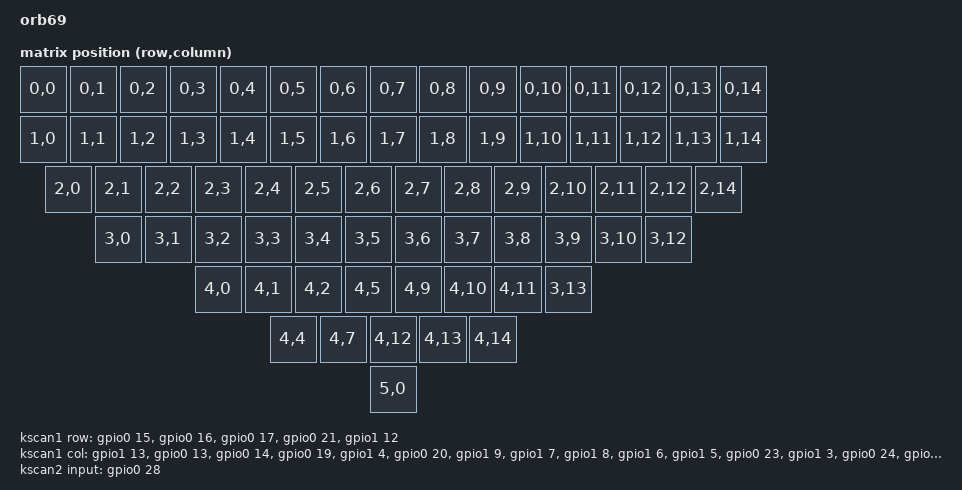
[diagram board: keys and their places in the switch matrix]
/dts-v1/;
#include <nordic/nrf52840_qiaa.dtsi>

#include <dt-bindings/zmk/matrix_transform.h>

//#include "orb69-pinctrl.dtsi"

/ {
    model = "orb69";
    compatible = "orb,69";

    aliases {
        led-pwr-r = &led_0;
        led-pwr-g = &led_1;
        led-bt-0  = &led_2;
        led-bt-1  = &led_3;
        led-bt-2  = &led_4;
    };

    chosen {
        zephyr,code-partition = &code_partition;
        zephyr,sram = &sram0;
        zephyr,flash = &flash0;
        zephyr,console = &cdc_acm_uart;
        zmk,battery = &vbatt;
        zmk,kscan = &kscan0;
        zmk,matrix_transform = &default_transform;
    };

    default_transform: keymap_transform_0 {
        compatible = "zmk,matrix-transform";
        rows = <5>;
        columns = <15>;

        map = <
            RC(0,0) RC(0,1) RC(0,2) RC(0,3) RC(0,4) RC(0,5) RC(0,6) RC(0,7) RC(0,8) RC(0,9) RC(0,10) RC(0,11) RC(0,12)   RC(0,13) RC(0,14)
            RC(1,0)   RC(1,1) RC(1,2) RC(1,3) RC(1,4) RC(1,5) RC(1,6) RC(1,7) RC(1,8) RC(1,9) RC(1,10) RC(1,11) RC(1,12) RC(1,13) RC(1,14)
            RC(2,0)     RC(2,1) RC(2,2) RC(2,3) RC(2,4) RC(2,5) RC(2,6) RC(2,7) RC(2,8) RC(2,9) RC(2,10) RC(2,11)        RC(2,12) RC(2,14)
            RC(3,0)       RC(3,1) RC(3,2) RC(3,3) RC(3,4) RC(3,5) RC(3,6) RC(3,7) RC(3,8) RC(3,9)    RC(3,10)            RC(3,12)
            RC(4,0)   RC(4,1)   RC(4,2)                      RC(4,5)                     RC(4,9)   RC(4,10)   RC(4,11)   RC(3,13)
                                            RC(4,4)                        RC(4,7)                              RC(4,12) RC(4,13) RC(4,14)

            RC(5,0)                                 
        >;
    };

    kscan0: kscan_composite {
        compatible = "zmk,kscan-composite";
        label = "KSCAN0";
        rows = <6>;
        columns = <15>;

        matrix {
            kscan = <&kscan1>;
        };

        direct {
            kscan = <&kscan2>;
            row-offset = <5>;
        };
    };

    kscan1: kscan_matrix {
        compatible = "zmk,kscan-gpio-matrix";

        diode-direction = "row2col";
        row-gpios
            = <&gpio0 15 GPIO_ACTIVE_HIGH>
            , <&gpio0 16 GPIO_ACTIVE_HIGH>
            , <&gpio0 17 GPIO_ACTIVE_HIGH>
            , <&gpio0 21 GPIO_ACTIVE_HIGH>
            , <&gpio1 12 GPIO_ACTIVE_HIGH>
            ;
        col-gpios
            = <&gpio1 13 (GPIO_ACTIVE_HIGH | GPIO_PULL_DOWN)>
            , <&gpio0 13 (GPIO_ACTIVE_HIGH | GPIO_PULL_DOWN)>
            , <&gpio0 14 (GPIO_ACTIVE_HIGH | GPIO_PULL_DOWN)>
            , <&gpio0 19 (GPIO_ACTIVE_HIGH | GPIO_PULL_DOWN)>
            , <&gpio1 4  (GPIO_ACTIVE_HIGH | GPIO_PULL_DOWN)>
            , <&gpio0 20 (GPIO_ACTIVE_HIGH | GPIO_PULL_DOWN)>
            , <&gpio1 9  (GPIO_ACTIVE_HIGH | GPIO_PULL_DOWN)>
            , <&gpio1 7  (GPIO_ACTIVE_HIGH | GPIO_PULL_DOWN)>
            , <&gpio1 8  (GPIO_ACTIVE_HIGH | GPIO_PULL_DOWN)>
            , <&gpio1 6  (GPIO_ACTIVE_HIGH | GPIO_PULL_DOWN)>
            , <&gpio1 5  (GPIO_ACTIVE_HIGH | GPIO_PULL_DOWN)>
            , <&gpio0 23 (GPIO_ACTIVE_HIGH | GPIO_PULL_DOWN)>
            , <&gpio1 3  (GPIO_ACTIVE_HIGH | GPIO_PULL_DOWN)>
            , <&gpio0 24 (GPIO_ACTIVE_HIGH | GPIO_PULL_DOWN)>
            , <&gpio0 22 (GPIO_ACTIVE_HIGH | GPIO_PULL_DOWN)>
            ;
    };
    
    kscan2: kscan_direct {
        compatible = "zmk,kscan-gpio-direct";

        input-gpios
            = <&gpio0 28 (GPIO_ACTIVE_LOW | GPIO_PULL_UP)>
            ;
    };

    vbatt: vbatt {
        compatible = "zmk,battery-voltage-divider";
        label = "BATTERY";
        io-channels = <&adc 7>;
        output-ohms = <2000000>;
        full-ohms = <(2000000 + 806000)>;
    };

    leds {
        compatible = "gpio-leds";
        led_0: led_0 {
            gpios = <&gpio0 29 GPIO_ACTIVE_LOW>;
            label = "Power led red";
        };
        led_1: led_1 {
            gpios = <&gpio0 30 GPIO_ACTIVE_LOW>;
            label = "Power led green";
        };
        led_2: led_2 {
            gpios = <&gpio0 27 GPIO_ACTIVE_LOW>;
            label = "Bluetooth led profile 0";
        };
        led_3: led_3 {
            gpios = <&gpio0 26 GPIO_ACTIVE_LOW>;
            label = "Bluetooth led profile 1";
        };
        led_4: led_4 {
            gpios = <&gpio0 25 GPIO_ACTIVE_LOW>;
            label = "Bluetooth led profile 2";
        };
    };
};

&spi0 {
    compatible = "nordic,nrf-spim";
    label = "SPI0";
    status = "okay";
    sck-pin = <4>;
    mosi-pin = <5>;
    miso-pin = <7>;

    mouse: mouse@0 {
        compatible = "avago,adns3530";
        label = "adns3530";
        status = "okay";
        reg = <0>;
        spi-max-frequency = <1000000>;
        motswk-gpios = <&gpio0 3 GPIO_ACTIVE_LOW>;
        cs-gpios = <&gpio0 9 GPIO_ACTIVE_LOW>;
    };
};

&adc {
    status = "okay";
};

&gpiote {
    status = "okay";
};

&gpio0 {
    status = "okay";
};

&gpio1 {
    status = "okay";
};

&usbd {
    status = "okay";
    cdc_acm_uart: cdc_acm_uart {
        compatible = "zephyr,cdc-acm-uart";
        label = "CDC_ACM_0";
    };
};

&flash0 {
    /*
     * For more information, see:
     * http://docs.zephyrproject.org/latest/devices/dts/flash_partitions.html
     */
    partitions {
        compatible = "fixed-partitions";
        #address-cells = <1>;
        #size-cells = <1>;

        sd_partition: partition@0 {
            label = "mbr";
            reg = <0x00000000 0x00001000>;
        };

        code_partition: partition@1000 {
            label = "code_partition";
            reg = <0x00001000 0x000d3000>;
        };

        /*
         * The flash starting at 0x000d4000 and ending at
         * 0x000f3fff is reserved for use by the application.
         */

        /*
         * Storage partition will be used by FCB/LittleFS/NVS
         * if enabled.
         */
        storage_partition: partition@d4000 {
            label = "storage";
            reg = <0x000d4000 0x00020000>;
        };

        boot_partition: partition@f4000 {
            label = "adafruit_boot";
            reg = <0x000f4000 0x0000c000>;
        };
    };
};
